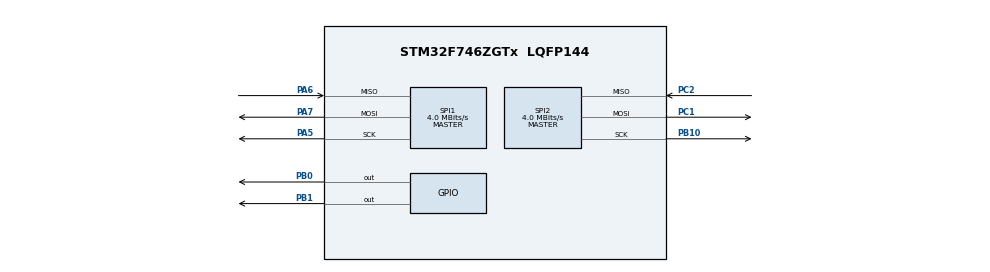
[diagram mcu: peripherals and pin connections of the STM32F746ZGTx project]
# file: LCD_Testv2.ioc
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Mcu.Family=STM32F7
Mcu.Name=STM32F746ZGTx
Mcu.Package=LQFP144
NVIC.PriorityGroup=NVIC_PRIORITYGROUP_4
PA0/WKUP.Mode=SYS_WakeUp0
PA0/WKUP.Signal=SYS_WKUP1
PA13.Signal=SYS_JTMS-SWDIO
PA14.Signal=SYS_JTCK-SWCLK
PA5.Mode=Full_Duplex_Master
PA5.Signal=SPI1_SCK
PA6.Mode=Full_Duplex_Master
PA6.Signal=SPI1_MISO
PA7.Mode=Full_Duplex_Master
PA7.Signal=SPI1_MOSI
PB0.Signal=GPIO_Output
PB1.Signal=GPIO_Output
PB10.Mode=Full_Duplex_Master
PB10.Signal=SPI2_SCK
PB3.Signal=SYS_JTDO-SWO
PC1.Mode=Full_Duplex_Master
PC1.Signal=SPI2_MOSI
PC2.Mode=Full_Duplex_Master
PC2.Signal=SPI2_MISO
ProjectManager.HeapSize=0x200
ProjectManager.StackSize=0x400
ProjectManager.TargetToolchain=SW4STM32
RCC.AHBCLKDivider=RCC_SYSCLK_DIV2
RCC.AHBFreq_Value=8000000
RCC.APB1Freq_Value=8000000
RCC.APB1TimFreq_Value=8000000
RCC.APB2Freq_Value=8000000
RCC.APB2TimFreq_Value=8000000
RCC.CortexFreq_Value=8000000
RCC.HCLKFreq_Value=8000000
RCC.HSE_VALUE=25000000
RCC.HSI_VALUE=16000000
RCC.LSE_VALUE=32768
RCC.USBFreq_Value=96000000
RCC.VCOOutputFreq_Value=192000000
SPI1.BaudRatePrescaler=SPI_BAUDRATEPRESCALER_2
SPI1.CLKPhase=SPI_PHASE_1EDGE
SPI1.CLKPolarity=SPI_POLARITY_LOW
SPI1.CalculateBaudRate=4.0 MBits/s
SPI1.DataSize=SPI_DATASIZE_8BIT
SPI1.Direction=SPI_DIRECTION_2LINES
SPI1.Mode=SPI_MODE_MASTER
SPI1.NSSPMode=SPI_NSS_PULSE_DISABLE
SPI1.VirtualType=VM_MASTER
SPI2.CalculateBaudRate=4.0 MBits/s
SPI2.DataSize=SPI_DATASIZE_8BIT
SPI2.Direction=SPI_DIRECTION_2LINES
SPI2.Mode=SPI_MODE_MASTER
SPI2.VirtualType=VM_MASTER
board=custom

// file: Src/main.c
/* USER CODE BEGIN Header */
/**
 ******************************************************************************
 * @file           : main.c
 * @brief          : Main program body
 ******************************************************************************
 ** This notice applies to any and all portions of this file
 * that are not between comment pairs USER CODE BEGIN and
 * USER CODE END. Other portions of this file, whether
 * inserted by the user or by software development tools
 * are owned by their respective copyright owners.
 *
 * COPYRIGHT(c) 2019 STMicroelectronics
 *
 * Redistribution and use in source and binary forms, with or without modification,
 * are permitted provided that the following conditions are met:
 *   1. Redistributions of source code must retain the above copyright notice,
 *      this list of conditions and the following disclaimer.
 *   2. Redistributions in binary form must reproduce the above copyright notice,
 *      this list of conditions and the following disclaimer in the documentation
 *      and/or other materials provided with the distribution.
 *   3. Neither the name of STMicroelectronics nor the names of its contributors
 *      may be used to endorse or promote products derived from this software
 *      without specific prior written permission.
 *
 * THIS SOFTWARE IS PROVIDED BY THE COPYRIGHT HOLDERS AND CONTRIBUTORS "AS IS"
 * AND ANY EXPRESS OR IMPLIED WARRANTIES, INCLUDING, BUT NOT LIMITED TO, THE
 * IMPLIED WARRANTIES OF MERCHANTABILITY AND FITNESS FOR A PARTICULAR PURPOSE ARE
 * DISCLAIMED. IN NO EVENT SHALL THE COPYRIGHT HOLDER OR CONTRIBUTORS BE LIABLE
 * FOR ANY DIRECT, INDIRECT, INCIDENTAL, SPECIAL, EXEMPLARY, OR CONSEQUENTIAL
 * DAMAGES (INCLUDING, BUT NOT LIMITED TO, PROCUREMENT OF SUBSTITUTE GOODS OR
 * SERVICES; LOSS OF USE, DATA, OR PROFITS; OR BUSINESS INTERRUPTION) HOWEVER
 * CAUSED AND ON ANY THEORY OF LIABILITY, WHETHER IN CONTRACT, STRICT LIABILITY,
 * OR TORT (INCLUDING NEGLIGENCE OR OTHERWISE) ARISING IN ANY WAY OUT OF THE USE
 * OF THIS SOFTWARE, EVEN IF ADVISED OF THE POSSIBILITY OF SUCH DAMAGE.
 *
 ******************************************************************************
 */
/* USER CODE END Header */

#include "FT812.h"
#include "main.h"

SPI_HandleTypeDef hspi1;
SPI_HandleTypeDef hspi2;

/* USER CODE BEGIN PV */
// AN_312 FT812 pin definitions
#define FT812_PD_N	GPIO_PIN_0
#define FT812_CS_N	GPIO_PIN_1

// AN312 FT812 screen size - uncomment the appropriate size
//#define LCD_QVGA																			// VM800B/C 3.5" QVGA - 320x240
//#define LCD_WQVGA																				// VM800B/C 4.3" & 5.0" WQVGA - 480x272
#define LCD_800480
// AN_312 Colors - fully saturated colors defined here
#define RED					0xFF0000UL													// Red
#define GREEN				0x00FF00UL													// Green
#define BLUE				0x0000FFUL													// Blue
#define WHITE				0xFFFFFFUL													// White
#define BLACK				0x000000UL													// Black

// Global Variables

// AN_312 FT812 pins
unsigned int ft812irqPin;																// Interrupt from FT812 to Arduino - not used here
unsigned int ft812pwrPin;																// PD_N from Arduino to FT812 - effectively FT812 reset
unsigned int ft812csPin;																// SPI chip select - defined separately since it's manipulated with GPIO calls

// AN_312 LCD display parameters
unsigned int lcdWidth;																	// Active width of LCD display
unsigned int lcdHeight;																	// Active height of LCD display
unsigned int lcdHcycle;																	// Total number of clocks per line
unsigned int lcdHoffset;																// Start of active line
unsigned int lcdHsync0;																	// Start of horizontal sync pulse
unsigned int lcdHsync1;																	// End of horizontal sync pulse
unsigned int lcdVcycle;																	// Total number of lines per screen
unsigned int lcdVoffset;																// Start of active screen
unsigned int lcdVsync0;																	// Start of vertical sync pulse
unsigned int lcdVsync1;																	// End of vertical sync pulse
unsigned char lcdPclk;																	// Pixel Clock
unsigned char lcdSwizzle;																// Define RGB output pins
unsigned char lcdPclkpol;																// Define active edge of PCLK

unsigned long ramDisplayList = RAM_DL;									// Set beginning of display list memory
unsigned long ramCommandBuffer = RAM_CMD;								// Set beginning of graphics command memory

unsigned int cmdBufferRd = 0x0000;											// Used to navigate command ring buffer
unsigned int cmdBufferWr = 0x0000;											// Used to navigate command ring buffer
unsigned int cmdOffset = 0x0000;												// Used to navigate command rung buffer
unsigned int point_size = 0x0100;												// Define a default dot size
unsigned long point_x = (96 * 16);											// Define a default point x-location (1/16 anti-aliased)
unsigned long point_y = (136 * 16);											// Define a default point y-location (1/16 anti-aliased)
unsigned long color;																		// Variable for chanign colors
unsigned char ft812Gpio;																// Used for FT812 GPIO register

// AN_312 Specific function prototypes - See full descriptions below
static void ft812cmdWrite(unsigned char);
static void ft812memWrite8(unsigned long, unsigned char);
static void ft812memWrite16(unsigned long, unsigned int);
static void ft812memWrite32(unsigned long, unsigned long);
unsigned char ft812memRead8(unsigned long);
unsigned int ft812memRead16(unsigned long);
unsigned long ft812memRead32(unsigned long);
unsigned int incCMDOffset(unsigned int, unsigned char);
/* USER CODE END PV */

void SystemClock_Config(void);
static void MX_GPIO_Init(void);
static void MX_SPI1_Init(void);
static void MX_SPI2_Init(void);

int main(void)
{

  /* MCU Configuration--------------------------------------------------------*/

  /* Reset of all peripherals, Initializes the Flash interface and the Systick. */
  HAL_Init();

  /* Configure the system clock */
  SystemClock_Config();

  /* Initialize all configured peripherals */
  MX_GPIO_Init();
  MX_SPI1_Init();
  MX_SPI2_Init();
  /* USER CODE BEGIN 2 */
#ifdef LCD_QVGA																					// QVGA display parameters
	lcdWidth   = 320;																			// Active width of LCD display
	lcdHeight  = 240;																			// Active height of LCD display
	lcdHcycle  = 408;																			// Total number of clocks per line
	lcdHoffset = 70;																			// Start of active line
	lcdHsync0  = 0;																				// Start of horizontal sync pulse
	lcdHsync1  = 10;																			// End of horizontal sync pulse
	lcdVcycle  = 263;																			// Total number of lines per screen
	lcdVoffset = 13;																			// Start of active screen
	lcdVsync0  = 0;																				// Start of vertical sync pulse
	lcdVsync1  = 2;																				// End of vertical sync pulse
	lcdPclk    = 8;																				// Pixel Clock
	lcdSwizzle = 2;																				// Define RGB output pins
	lcdPclkpol = 0;																				// Define active edge of PCLK
#endif

#ifdef LCD_WQVGA																				// WQVGA display parameters
	lcdWidth   = 480;																			// Active width of LCD display
	lcdHeight  = 272;																			// Active height of LCD display
	lcdHcycle  = 548;																			// Total number of clocks per line
	lcdHoffset = 43;																			// Start of active line
	lcdHsync0  = 0;																				// Start of horizontal sync pulse
	lcdHsync1  = 41;																			// End of horizontal sync pulse
	lcdVcycle  = 292;																			// Total number of lines per screen
	lcdVoffset = 12;																			// Start of active screen
	lcdVsync0  = 0;																				// Start of vertical sync pulse
	lcdVsync1  = 10;																			// End of vertical sync pulse
	lcdPclk    = 5;																				// Pixel Clock
	lcdSwizzle = 0;																				// Define RGB output pins
	lcdPclkpol = 1;																				// Define active edge of PCLK
#endif

#ifdef LCD_800480																				// WQVGA display parameters
	lcdWidth   = 800;																			// Active width of LCD display
	lcdHeight  = 480;																			// Active height of LCD display
	lcdHcycle  = 928;																			// Total number of clocks per line
	lcdHoffset = 88;																			// Start of active line
	lcdHsync0  = 0;																				// Start of horizontal sync pulse
	lcdHsync1  = 48;																			// End of horizontal sync pulse
	lcdVcycle  = 525;																			// Total number of lines per screen
	lcdVoffset = 32;																			// Start of active screen
	lcdVsync0  = 0;																				// Start of vertical sync pulse
	lcdVsync1  = 3;																			// End of vertical sync pulse
	lcdPclk    = 2;																				// Pixel Clock
	lcdSwizzle = 0;																				// Define RGB output pins
	lcdPclkpol = 1;																				// Define active edge of PCLK
#endif

	HAL_GPIO_WritePin(GPIOB, FT812_PD_N, GPIO_PIN_SET); 	// Initial state of PD_N - high
	HAL_GPIO_WritePin(GPIOB, FT812_CS_N, GPIO_PIN_SET);		// Initial state of SPI CS - high
	HAL_Delay(20);																				// Wait 20ms
	HAL_GPIO_WritePin(GPIOB, FT812_PD_N, GPIO_PIN_RESET); // Reset FT812
	HAL_Delay(20);																				// Wait 20ms
	HAL_GPIO_WritePin(GPIOB, FT812_PD_N, GPIO_PIN_SET); 	// FT812 is awake
	HAL_Delay(20);																				// Wait 20ms - required
	ft812cmdWrite(FT812_CLKEXT);													// Set FT812 for external clock
		HAL_Delay(20);																					// Give some time to process
	ft812cmdWrite(FT812_ACTIVE);													// Start FT812
	HAL_Delay(20);																					// Give some time to process

	ft812cmdWrite(FT812_CLK48M);													// Set FT812 for 48MHz PLL
	HAL_Delay(20);																					// Give some time to process
	// Now FT812 can accept commands at up to 30MHz clock on SPI bus
	//   This application leaves the SPI bus at 8MHz
	///////////////////////////////
	//Getting stuck in the while loop here
	ft812memWrite8(REG_PWM_DUTY, ZERO);										// Turn off backlight
	volatile int a = ft812memRead8(REG_ID);
	volatile int b = ft812memRead8(REG_ID);
	volatile int c = ft812memRead8(REG_ID);

	//////////////////////////////////
	if (ft812memRead8(REG_ID) != 0x7C)											// Read ID register - is it 0x7C?
	{
		while(1);	// If we don't get 0x7C, the ineface isn't working - halt with infinite loop
	}

	ft812memWrite8(REG_PCLK, ZERO);												// Set PCLK to zero - don't clock the LCD until later
	ft812memWrite8(REG_PWM_DUTY, ZERO);										// Turn off backlight

	// End of Wake-up FT812

	//***************************************
	// Initialize Display
	ft812memWrite16(REG_HSIZE,   lcdWidth);								// active display width
	ft812memWrite16(REG_HCYCLE,  lcdHcycle);							// total number of clocks per line, incl front/back porch
	ft812memWrite16(REG_HOFFSET, lcdHoffset);							// start of active line
	ft812memWrite16(REG_HSYNC0,  lcdHsync0);							// start of horizontal sync pulse
	ft812memWrite16(REG_HSYNC1,  lcdHsync1);							// end of horizontal sync pulse
	ft812memWrite16(REG_VSIZE,   lcdHeight);							// active display height
	ft812memWrite16(REG_VCYCLE,  lcdVcycle);							// total number of lines per screen, incl pre/post
	ft812memWrite16(REG_VOFFSET, lcdVoffset);							// start of active screen
	ft812memWrite16(REG_VSYNC0,  lcdVsync0);							// start of vertical sync pulse
	ft812memWrite16(REG_VSYNC1,  lcdVsync1);							// end of vertical sync pulse
	ft812memWrite8(REG_SWIZZLE,  lcdSwizzle);							// FT812 output to LCD - pin order
	ft812memWrite8(REG_PCLK_POL, lcdPclkpol);							// LCD data is clocked in on this PCLK edge
	// Don't set PCLK yet - wait for just after the first display list
	// End of Initialize Display
	//***************************************

	//***************************************
	// Configure Touch and Audio - not used in this example, so disable both
	ft812memWrite8(REG_TOUCH_MODE, ZERO);									// Disable touch
	ft812memWrite16(REG_TOUCH_RZTHRESH, ZERO);						// Eliminate any false touches

	ft812memWrite8(REG_VOL_PB, ZERO);											// turn recorded audio volume down
	ft812memWrite8(REG_VOL_SOUND, ZERO);									// turn synthesizer volume down
	ft812memWrite16(REG_SOUND, 0x6000);										// set synthesizer to mute

	// End of Configure Touch and Audio
	//***************************************

	//***************************************
	// Write Initial Display List & Enable Display

	ramDisplayList = RAM_DL;															// start of Display List
	ft812memWrite32(ramDisplayList, DL_CLEAR_RGB); 				// Clear Color RGB   00000010 RRRRRRRR GGGGGGGG BBBBBBBB  (R/G/B = Colour values) default zero / black
	ramDisplayList += 4;																	// point to next location
	ft812memWrite32(ramDisplayList, (DL_CLEAR | CLR_COL | CLR_STN | CLR_TAG));
	// Clear 00100110 -------- -------- -----CST  (C/S/T define which parameters to clear)
	ramDisplayList += 4;																	// point to next location
	ft812memWrite32(ramDisplayList, DL_DISPLAY);					// DISPLAY command 00000000 00000000 00000000 00000000 (end of display list)

	ft812memWrite32(REG_DLSWAP, DLSWAP_FRAME);						// 00000000 00000000 00000000 000000SS  (SS bits define when render occurs)
	// Nothing is being displayed yet... the pixel clock is still 0x00
	ramDisplayList = RAM_DL;															// Reset Display List pointer for next list

	ft812Gpio = ft812memRead8(REG_GPIO);									// Read the FT812 GPIO register for a read/modify/write operation
	ft812Gpio = ft812Gpio | 0x80;													// set bit 7 of FT812 GPIO register (DISP) - others are inputs
	ft812memWrite8(REG_GPIO, ft812Gpio);									// Enable the DISP signal to the LCD panel
	ft812memWrite8(REG_PCLK, lcdPclk);										// Now start clocking data to the LCD panel
	for(int duty = 0; duty <= 128; duty++)
	{
		ft812memWrite8(REG_PWM_DUTY, duty);									// Turn on backlight - ramp up slowly to full brighness
		HAL_Delay(10);
	}
  /* USER CODE END 2 */

  /* Infinite loop */
	while (1)
	{

    /* USER CODE BEGIN 3 */
		do
				{
					cmdBufferRd = ft812memRead16(REG_CMD_READ);					// Read the graphics processor read pointer
					cmdBufferWr = ft812memRead16(REG_CMD_WRITE); 				// Read the graphics processor write pointer
				}while (cmdBufferWr != cmdBufferRd);									// Wait until the two registers match

				cmdOffset = cmdBufferWr;															// The new starting point the first location after the last command

				if (color != WHITE)																		// If a red dot was just drawn (or first time through)...
					color = WHITE;																			// change color to white
				else																									// Otherwise...
					color = RED;																				// change the color to red

				ft812memWrite32(RAM_CMD + cmdOffset, (CMD_DLSTART));// Start the display list
				cmdOffset = incCMDOffset(cmdOffset, 4);								// Update the command pointer

				ft812memWrite32(RAM_CMD + cmdOffset, (DL_CLEAR_RGB | BLACK));
																														// Set the default clear color to black
				cmdOffset = incCMDOffset(cmdOffset, 4);								// Update the command pointer

				ft812memWrite32(RAM_CMD + cmdOffset, (DL_CLEAR | CLR_COL | CLR_STN | CLR_TAG));
																														// Clear the screen - this and the previous prevent artifacts between lists
																														// Attributes are the color, stencil and tag buffers
				cmdOffset = incCMDOffset(cmdOffset, 4);								// Update the command pointer

				ft812memWrite32(RAM_CMD + cmdOffset, (DL_COLOR_RGB | color));
																														// Set the color of the following item(s) - toggle red/white from above
				cmdOffset = incCMDOffset(cmdOffset, 4);								// Update the command pointer

				ft812memWrite32(RAM_CMD + cmdOffset, (DL_POINT_SIZE | point_size));
																														// Select the size of the dot to draw
				cmdOffset = incCMDOffset(cmdOffset, 4);								// Update the command pointer

				ft812memWrite32(RAM_CMD + cmdOffset, (DL_BEGIN | FTPOINTS));
																														// Indicate to draw a point (dot)
				cmdOffset = incCMDOffset(cmdOffset, 4);								// Update the command pointer

				ft812memWrite32(RAM_CMD + cmdOffset, (DL_VERTEX2F | (point_x << 15) | point_y));
																														// Set the point center location
				cmdOffset = incCMDOffset(cmdOffset, 4);								// Update the command pointer

				ft812memWrite32(RAM_CMD + cmdOffset, (DL_END));				// End the point
				cmdOffset = incCMDOffset(cmdOffset, 4);								// Update the command pointer

				ft812memWrite32(RAM_CMD + cmdOffset, (DL_DISPLAY));		// Instruct the graphics processor to show the list
				cmdOffset = incCMDOffset(cmdOffset, 4);								// Update the command pointer

				ft812memWrite32(RAM_CMD + cmdOffset, (CMD_SWAP));			// Make this list active
				cmdOffset = incCMDOffset(cmdOffset, 4);								// Update the command pointer

				ft812memWrite16(REG_CMD_WRITE, (cmdOffset));					// Update the ring buffer pointer so the graphics processor starts executing

				HAL_Delay(500);																				// Wait a half-second to observe the changing color

		 // End of loop()
	}
  /* USER CODE END 3 */
}

void SystemClock_Config(void)
{
  RCC_OscInitTypeDef RCC_OscInitStruct = {0};
  RCC_ClkInitTypeDef RCC_ClkInitStruct = {0};

  /**Configure the main internal regulator output voltage
  */
  __HAL_RCC_PWR_CLK_ENABLE();
  __HAL_PWR_VOLTAGESCALING_CONFIG(PWR_REGULATOR_VOLTAGE_SCALE3);
  /**Initializes the CPU, AHB and APB busses clocks
  */
  RCC_OscInitStruct.OscillatorType = RCC_OSCILLATORTYPE_HSI;
  RCC_OscInitStruct.HSIState = RCC_HSI_ON;
  RCC_OscInitStruct.HSICalibrationValue = RCC_HSICALIBRATION_DEFAULT;
  RCC_OscInitStruct.PLL.PLLState = RCC_PLL_NONE;
  if (HAL_RCC_OscConfig(&RCC_OscInitStruct) != HAL_OK)
  {
    Error_Handler();
  }
  /**Initializes the CPU, AHB and APB busses clocks
  */
  RCC_ClkInitStruct.ClockType = RCC_CLOCKTYPE_HCLK|RCC_CLOCKTYPE_SYSCLK
                              |RCC_CLOCKTYPE_PCLK1|RCC_CLOCKTYPE_PCLK2;
  RCC_ClkInitStruct.SYSCLKSource = RCC_SYSCLKSOURCE_HSI;
  RCC_ClkInitStruct.AHBCLKDivider = RCC_SYSCLK_DIV2;
  RCC_ClkInitStruct.APB1CLKDivider = RCC_HCLK_DIV1;
  RCC_ClkInitStruct.APB2CLKDivider = RCC_HCLK_DIV1;

  if (HAL_RCC_ClockConfig(&RCC_ClkInitStruct, FLASH_LATENCY_0) != HAL_OK)
  {
    Error_Handler();
  }
}

static void MX_SPI1_Init(void)
{

  /* SPI1 parameter configuration*/
  hspi1.Instance = SPI1;
  hspi1.Init.Mode = SPI_MODE_MASTER;
  hspi1.Init.Direction = SPI_DIRECTION_2LINES;
  hspi1.Init.DataSize = SPI_DATASIZE_8BIT;
  hspi1.Init.CLKPolarity = SPI_POLARITY_LOW;
  hspi1.Init.CLKPhase = SPI_PHASE_1EDGE;
  hspi1.Init.NSS = SPI_NSS_SOFT;
  hspi1.Init.BaudRatePrescaler = SPI_BAUDRATEPRESCALER_2;
  hspi1.Init.FirstBit = SPI_FIRSTBIT_MSB;
  hspi1.Init.TIMode = SPI_TIMODE_DISABLE;
  hspi1.Init.CRCCalculation = SPI_CRCCALCULATION_DISABLE;
  hspi1.Init.CRCPolynomial = 7;
  hspi1.Init.CRCLength = SPI_CRC_LENGTH_DATASIZE;
  hspi1.Init.NSSPMode = SPI_NSS_PULSE_DISABLE;
  if (HAL_SPI_Init(&hspi1) != HAL_OK)
  {
    Error_Handler();
  }

}

static void MX_SPI2_Init(void)
{

  /* SPI2 parameter configuration*/
  hspi2.Instance = SPI2;
  hspi2.Init.Mode = SPI_MODE_MASTER;
  hspi2.Init.Direction = SPI_DIRECTION_2LINES;
  hspi2.Init.DataSize = SPI_DATASIZE_8BIT;
  hspi2.Init.CLKPolarity = SPI_POLARITY_LOW;
  hspi2.Init.CLKPhase = SPI_PHASE_1EDGE;
  hspi2.Init.NSS = SPI_NSS_SOFT;
  hspi2.Init.BaudRatePrescaler = SPI_BAUDRATEPRESCALER_2;
  hspi2.Init.FirstBit = SPI_FIRSTBIT_MSB;
  hspi2.Init.TIMode = SPI_TIMODE_DISABLE;
  hspi2.Init.CRCCalculation = SPI_CRCCALCULATION_DISABLE;
  hspi2.Init.CRCPolynomial = 7;
  hspi2.Init.CRCLength = SPI_CRC_LENGTH_DATASIZE;
  hspi2.Init.NSSPMode = SPI_NSS_PULSE_ENABLE;
  if (HAL_SPI_Init(&hspi2) != HAL_OK)
  {
    Error_Handler();
  }

}

static void MX_GPIO_Init(void)
{
  GPIO_InitTypeDef GPIO_InitStruct = {0};

  /* GPIO Ports Clock Enable */
  __HAL_RCC_GPIOC_CLK_ENABLE();
  __HAL_RCC_GPIOA_CLK_ENABLE();
  __HAL_RCC_GPIOB_CLK_ENABLE();

  /*Configure GPIO pin Output Level */
  HAL_GPIO_WritePin(GPIOB, GPIO_PIN_0|GPIO_PIN_1, GPIO_PIN_RESET);

  /*Configure GPIO pins : PB0 PB1 */
  GPIO_InitStruct.Pin = GPIO_PIN_0|GPIO_PIN_1;
  GPIO_InitStruct.Mode = GPIO_MODE_OUTPUT_PP;
  GPIO_InitStruct.Pull = GPIO_NOPULL;
  GPIO_InitStruct.Speed = GPIO_SPEED_FREQ_LOW;
  HAL_GPIO_Init(GPIOB, &GPIO_InitStruct);

}

/* USER CODE BEGIN 4 */
void ft812cmdWrite(unsigned char ftCommand)
{
	unsigned char cZero = 0x00;														// Filler value for command
	HAL_GPIO_WritePin(GPIOB, FT812_CS_N, GPIO_PIN_RESET);	// Set chip select low
	HAL_SPI_Transmit(&hspi1, &ftCommand, 1, 0);						// Send command
	HAL_SPI_Transmit(&hspi1, &cZero, 1, 0);								// Send first filler byte
	HAL_SPI_Transmit(&hspi1, &cZero, 1, 0);								// Send second filler byte
	HAL_GPIO_WritePin(GPIOB, FT812_CS_N, GPIO_PIN_SET);		// Set chip select high
}

/******************************************************************************
 * Function:        void ft812memWritexx(ftAddress, ftDataxx, ftLength)
 * PreCondition:    None
 * Input:           ftAddress = FT812 memory space address
 *                  ftDataxx = a byte, int or long to send
 * Output:          None
 * Side Effects:    None
 * Overview:        Writes FT812 internal address space
 * Note:            "xx" is one of 8, 16 or 32
 *****************************************************************************/
void ft812memWrite8(unsigned long ftAddress, unsigned char ftData8)
{
	unsigned char cTempAddr[3];														// FT812 Memory Address

	cTempAddr[2] = (char) (ftAddress >> 16) | MEM_WRITE;	// Compose the command and address to send
	cTempAddr[1] = (char) (ftAddress >> 8);								// middle byte
	cTempAddr[0] = (char) (ftAddress);										// low byte

	HAL_GPIO_WritePin(GPIOB, FT812_CS_N, GPIO_PIN_RESET);	// Set chip select low

  for (int i = 2; i >= 0; i--)
	{
		HAL_SPI_Transmit(&hspi1, &cTempAddr[i], 1, 0); 			// Send Memory Write plus high address byte
	}

	for (int j = 0; j < sizeof(ftData8); j++)
	{
		HAL_SPI_Transmit(&hspi1, &ftData8, 1, 0);						// Send data byte
	}

	HAL_GPIO_WritePin(GPIOB, FT812_CS_N, GPIO_PIN_SET);		// Set chip select high
}

void ft812memWrite16(unsigned long ftAddress, unsigned int ftData16)
{
	unsigned char cTempAddr[3];														// FT812 Memory Address
	unsigned char cTempData[2];														// 16-bit data to write

	cTempAddr[2] = (char) (ftAddress >> 16) | MEM_WRITE;	// Compose the command and address to send
	cTempAddr[1] = (char) (ftAddress >> 8);								// middle byte
	cTempAddr[0] = (char) (ftAddress);										// low byte

	cTempData[1] = (char) (ftData16 >> 8);								// Compose data to be sent - high byte
	cTempData[0] = (char) (ftData16);											// low byte

	HAL_GPIO_WritePin(GPIOB, FT812_CS_N, GPIO_PIN_RESET);	// Set chip select low

  for (int i = 2; i >= 0; i--)
	{
		HAL_SPI_Transmit(&hspi1, &cTempAddr[i], 1, 0); 			// Send Memory Write plus high address byte
	}

	for (int j = 0; j < sizeof(cTempData); j++)						// Start with least significant byte
	{
		HAL_SPI_Transmit(&hspi1, &cTempData[j], 1, 0);			// Send data byte
	}

	HAL_GPIO_WritePin(GPIOB, FT812_CS_N, GPIO_PIN_SET);		// Set chip select high
}

void ft812memWrite32(unsigned long ftAddress, unsigned long ftData32)
{
	unsigned char cTempAddr[3];														// FT812 Memory Address
	unsigned char cTempData[4];														// 32-bit data to write

	cTempAddr[2] = (char) (ftAddress >> 16) | MEM_WRITE;	// Compose the command and address to send
	cTempAddr[1] = (char) (ftAddress >> 8);								// middle byte
	cTempAddr[0] = (char) (ftAddress);										// low byte

	cTempData[3] = (char) (ftData32 >> 24);								// Compose data to be sent - high byte
	cTempData[2] = (char) (ftData32 >> 16);								//
	cTempData[1] = (char) (ftData32 >> 8);								//
	cTempData[0] = (char) (ftData32);											// low byte

	HAL_GPIO_WritePin(GPIOB, FT812_CS_N, GPIO_PIN_RESET);	// Set chip select low

  for (int i = 2; i >= 0; i--)
	{
		HAL_SPI_Transmit(&hspi1, &cTempAddr[i], 1, 0); 			// Send Memory Write plus high address byte
	}

	for (int j = 0; j < sizeof(cTempData); j++)						// Start with least significant byte
	{
		HAL_SPI_Transmit(&hspi1, &cTempData[j], 1, 0);			// Send SPI byte
	}

	HAL_GPIO_WritePin(GPIOB, FT812_CS_N, GPIO_PIN_SET);		// Set chip select high
}
/******************************************************************************
 * Function:        unsigned char ft812memReadxx(ftAddress, ftLength)
 * PreCondition:    None
 * Input:           ftAddress = FT812 memory space address
 * Output:          ftDataxx (byte, int or long)
 * Side Effects:    None
 * Overview:        Reads FT812 internal address space
 * Note:            "xx" is one of 8, 16 or 32
 *****************************************************************************/
unsigned char ft812memRead8(unsigned long ftAddress)
{
  unsigned char ftData8 = ZERO;													// Place-holder for 8-bits being read
	unsigned char cTempAddr[3];														// FT812 Memory Address
	unsigned char cZeroFill = ZERO;												// Dummy byte

	cTempAddr[2] = (char) (ftAddress >> 16) | MEM_READ;		// Compose the command and address to send
	cTempAddr[1] = (char) (ftAddress >> 8);								// middle byte
	cTempAddr[0] = (char) (ftAddress);										// low byte

	HAL_GPIO_WritePin(GPIOB, FT812_CS_N, GPIO_PIN_RESET);	// Set chip select low

  for (int i = 2; i >= 0; i--)
	{
		HAL_SPI_Transmit(&hspi1, &cTempAddr[i], 1, 0); 			// Send Memory Write plus high address byte
	}

  HAL_SPI_Transmit(&hspi1, &cZeroFill, 1, 0);						// Send dummy byte

	for (int j = 0; j < sizeof(ftData8); j++)							// Start with least significant byte
	{
		HAL_SPI_Receive(&hspi1, &ftData8, 1, 0);						// Receive data byte
	}

	HAL_GPIO_WritePin(GPIOB, FT812_CS_N, GPIO_PIN_SET);		// Set chip select high

  return ftData8;																				// Return 8-bits
}

unsigned int ft812memRead16(unsigned long ftAddress)
{
  unsigned int ftData16;																// 16-bits to return
	unsigned char cTempAddr[3];														// FT812 Memory Address
	unsigned char cTempData[2];														// Place-holder for 16-bits being read
	unsigned char cZeroFill;

	cTempAddr[2] = (char) (ftAddress >> 16) | MEM_READ;		// Compose the command and address to send
	cTempAddr[1] = (char) (ftAddress >> 8);								// middle byte
	cTempAddr[0] = (char) (ftAddress);										// low byte

	HAL_GPIO_WritePin(GPIOB, FT812_CS_N, GPIO_PIN_RESET);	// Set chip select low

  for (int i = 2; i >= 0; i--)
	{
		HAL_SPI_Transmit(&hspi1, &cTempAddr[i], 1, 0); 			// Send Memory Write plus high address byte
	}

  HAL_SPI_Transmit(&hspi1, &cZeroFill, 1, 0);						// Send dummy byte

	for (int j = 0; j < sizeof(cTempData); j++)						// Start with least significant byte
	{
		HAL_SPI_Receive(&hspi1, &cTempData[j], 1, 0);				// Receive data byte
	}

	HAL_GPIO_WritePin(GPIOB, FT812_CS_N, GPIO_PIN_SET);		// Set chip select high

	ftData16 = (cTempData[1]<< 8) | 											// Compose value to return - high byte
					   (cTempData[0]); 														// low byte

  return ftData16;																			// Return 16-bits
}

unsigned long ft812memRead32(unsigned long ftAddress)
{
  unsigned long ftData32;																// 32-bits to return
	unsigned char cTempAddr[3];														// FT812 Memory Address
	unsigned char cTempData[4];														// Place holder for 32-bits being read
	unsigned char cZeroFill;															// Dummy byte

	cTempAddr[2] = (char) (ftAddress >> 16) | MEM_READ;		// Compose the command and address to send
	cTempAddr[1] = (char) (ftAddress >> 8);								// middle byte
	cTempAddr[0] = (char) (ftAddress);										// low byte

	HAL_GPIO_WritePin(GPIOB, FT812_CS_N, GPIO_PIN_RESET);	// Set chip select low

  for (int i = 2; i >= 0; i--)
	{
		HAL_SPI_Transmit(&hspi1, &cTempAddr[i], 1, 0); 			// Send Memory Write plus high address byte
	}

  HAL_SPI_Transmit(&hspi1, &cZeroFill, 1, 0);						// Send dummy byte

	for (int j = 0; j < sizeof(cTempData); j++)						// Start with least significatn byte
	{
		HAL_SPI_Receive(&hspi1, &cTempData[j], 1, 0);				// Receive data byte
	}

	HAL_GPIO_WritePin(GPIOB, FT812_CS_N, GPIO_PIN_SET);		// Set chip select high

	ftData32 = (cTempData[3]<< 24) | 											// Compose value to return - high byte
						 (cTempData[2]<< 16) |
						 (cTempData[1]<< 8) |
						 (cTempData[0]); 														// Low byte

  return ftData32;																			// Return 32-bits
}

/******************************************************************************
 * Function:        void incCMDOffset(currentOffset, commandSize)
 * PreCondition:    None
 *                    starting a command list
 * Input:           currentOffset = graphics processor command list pointer
 *                  commandSize = number of bytes to increment the offset
 * Output:          newOffset = the new ring buffer pointer after adding the command
 * Side Effects:    None
 * Overview:        Adds commandSize to the currentOffset.
 *                  Checks for 4K ring-buffer offset roll-over
 * Note:            None
 *****************************************************************************/
unsigned int incCMDOffset(unsigned int currentOffset, unsigned char commandSize)
{
    unsigned int newOffset;															// Used to hold new offset
    newOffset = currentOffset + commandSize;						// Calculate new offset
    if(newOffset > 4095)																// If new offset past boundary...
    {
        newOffset = (newOffset - 4096);									// ... roll over pointer
    }
    return newOffset;																		// Return new offset
}
/* USER CODE END 4 */

void Error_Handler(void)
{
}

/************************ (C) COPYRIGHT STMicroelectronics *****END OF FILE****/
